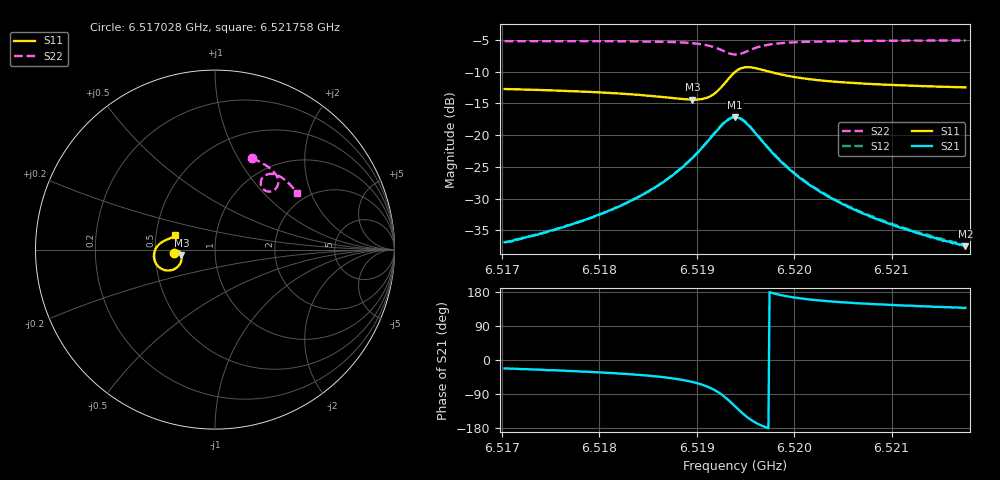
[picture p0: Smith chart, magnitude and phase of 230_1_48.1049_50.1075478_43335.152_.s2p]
#  HZ  S  RI  R  50.00
! Rohde & Schwarz Vector Network Analyzer
! Rohde-Schwarz,ZNB20-2Port,1311601062101988,3.16
! Created: UTC 12/23/2023, 3:57:39 AM
! freq[Hz]  re:S11  im:S11  re:S21  im:S21  re:S12  im:S12  re:S22  im:S22
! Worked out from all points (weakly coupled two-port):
!   401 points, 6.517028 GHz to 6.521758 GHz, reference 50 ohm
!   highest |S21| = -17.20 dB at 6.519393 GHz (marker M1); lowest = -37.5 dB at 6.521758 GHz (marker M2)
!   lowest |S11| = -14.4 dB at 6.518956 GHz (marker M3), VSWR 1.47, Z = 34.2 - j2.3 ohm
!   |S11| at or under -10 dB: start of sweep to 6.519399 GHz; 6.51974 GHz to end of sweep
!   |S22| runs from -7.3 to -5.1 dB; largest |S21 - S12| = 0.0042
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6.5170284e9  -0.23 -0.0167  0.0133 -0.00547  0.0133 -0.00495  0.2051 0.5085
6.5173949e9  -0.226 -0.0112  0.0151 -0.0073  0.0152 -0.00683  0.2323 0.4972
6.5178206e9  -0.2201 -0.0062  0.0182 -0.0107  0.0185 -0.0102  0.2636 0.4813
6.5182581e9  -0.2112 -0.00432  0.0229 -0.0171  0.0236 -0.0164  0.2966 0.4605
6.5186128e9  -0.2006 -0.00901  0.029 -0.0283  0.0301 -0.0272  0.3238 0.4371
6.518802e9  -0.1931 -0.0177  0.033 -0.0398  0.0345 -0.0389  0.3385 0.4189
6.5189557e9  -0.1873 -0.0324  0.0351 -0.0558  0.0369 -0.0551  0.349 0.3981
6.5190739e9  -0.1863 -0.0527  0.0325 -0.0757  0.035 -0.0752  0.3524 0.3758
6.5191685e9  -0.1937 -0.0768  0.0221 -0.0976  0.0251 -0.0977  0.3473 0.3525
6.5192986e9  -0.2364 -0.1129  -0.0217 -0.1261  -0.0181 -0.1277  0.3144 0.3243
6.5193459e9  -0.2644 -0.1166  -0.0472 -0.1266  -0.0438 -0.1289  0.2943 0.3235
6.5193931e9  -0.294 -0.1091  -0.0731 -0.117  -0.0703 -0.12  0.2745 0.3317
6.5194523e9  -0.324 -0.0847  -0.097 -0.0924  -0.0951 -0.0959  0.2583 0.3524
6.5195114e9  -0.3385 -0.0527  -0.1063 -0.0629  -0.1054 -0.0666  0.2553 0.3766
6.519606e9  -0.3363 -0.00884  -0.0995 -0.0258  -0.0995 -0.0288  0.2693 0.4053
6.5197006e9  -0.3217 0.0182  -0.0841 -0.00489  -0.0847 -0.00737  0.2898 0.4184
6.519937e9  -0.2888 0.0457  -0.0535 0.0118  -0.0545 0.0104  0.3311 0.4198
6.5201853e9  -0.2684 0.055  -0.0365 0.014  -0.0374 0.0133  0.3601 0.4085
6.5205637e9  -0.2508 0.0622  -0.0236 0.013  -0.0243 0.0126  0.3913 0.3869
6.5209775e9  -0.239 0.0682  -0.0165 0.0113  -0.0171 0.011  0.4178 0.3623
6.5213914e9  -0.2304 0.0738  -0.0123 0.00982  -0.0128 0.00981  0.4406 0.3373
6.5217579e9  -0.2241 0.0788  -0.00989 0.00894  -0.0103 0.00898  0.4586 0.3145
